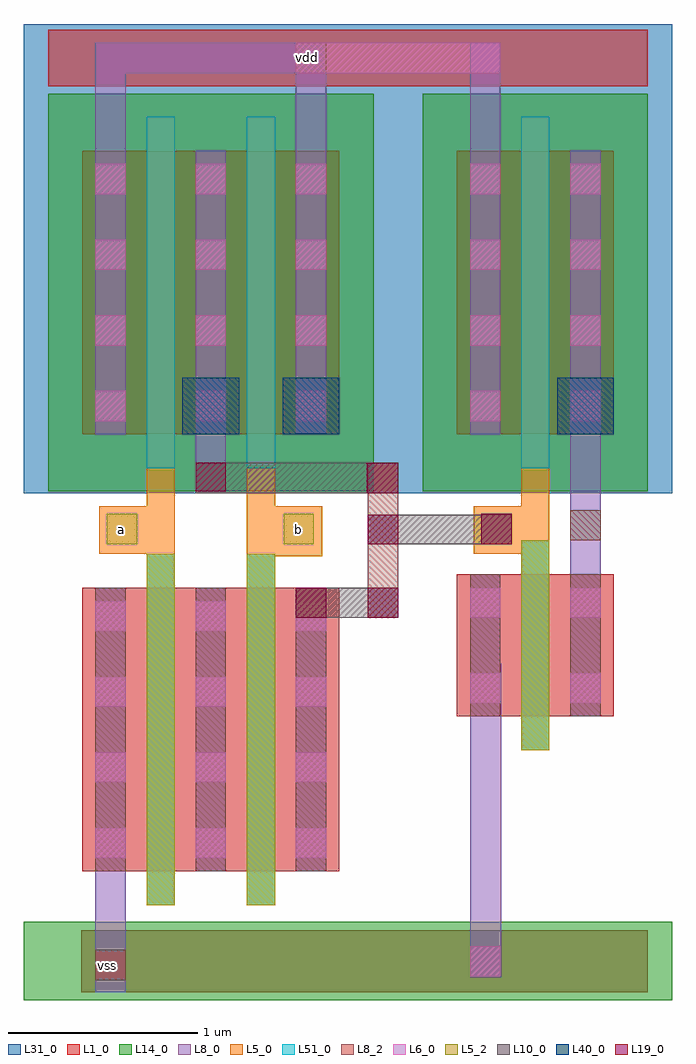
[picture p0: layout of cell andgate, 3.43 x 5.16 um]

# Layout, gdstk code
import gdstk
lib = gdstk.Library(unit=1e-6, precision=5e-09)
def R(c, l, rs):  # rectangles x0, y0, x1, y1
    for r in rs: c.add(gdstk.rectangle(r[:2], r[2:], *l))
def A(c, l, x, y, w, h, nx, ny, dx, dy):  # array of equal rectangles
    R(c, l, [(x+i*dx, y+j*dy, x+i*dx+w, y+j*dy+h) for i in range(nx) for j in range(ny)])
L1_0 = (1, 0)
L5_0 = (5, 0)
L5_2 = (5, 2)
L6_0 = (6, 0)
L8_0 = (8, 0)
L8_2 = (8, 2)
L10_0 = (10, 0)
L14_0 = (14, 0)
L19_0 = (19, 0)
L31_0 = (31, 0)
L40_0 = (40, 0)
L51_0 = (51, 0)

nmos_1 = lib.new_cell('nmos$1')
R(nmos_1, L1_0, [(0,0,0.3,0.3), (0,0,0.83,1.5), (0.53,0,0.83,0.3)])
R(nmos_1, L5_0, [(0.34,-0.18,0.49,1.68)])
R(nmos_1, L5_2, [(0.34,-0.18,0.49,1.68)])
A(nmos_1, L6_0, 0.07, 0.07, 0.16, 0.16, 1, 4, 0, 0.4)
A(nmos_1, L6_0, 0.6, 0.07, 0.16, 0.16, 1, 4, 0, 0.4)
R(nmos_1, L8_0, [(0.07,0,0.23,1.5), (0.6,0,0.76,1.5)])
R(nmos_1, L8_2, [(0.07,0,0.23,1.5), (0.6,0,0.76,1.5)])
R(nmos_1, L51_0, [(0.34,-0.18,0.49,1.68)])
nmos_1.add(gdstk.Label('nmos', (0.415,0.75), layer=63, texttype=0))
nmos_1.add(gdstk.Label('nmos', (0.415,0.75), layer=51, texttype=0))

pmos = lib.new_cell('pmos')
R(pmos, L1_0, [(0,0,0.3,0.3), (0,0,0.83,1.5), (0.53,0,0.83,0.3)])
R(pmos, L5_0, [(0.34,-0.18,0.49,1.68), (0.34,-0.18,0.49,1.68)])
A(pmos, L6_0, 0.07, 0.07, 0.16, 0.16, 1, 4, 0, 0.4)
A(pmos, L6_0, 0.6, 0.07, 0.16, 0.16, 1, 4, 0, 0.4)
R(pmos, L8_0, [(0.07,0,0.23,1.5), (0.07,0,0.23,1.5), (0.6,0,0.76,1.5), (0.6,0,0.76,1.5)])
R(pmos, L14_0, [(-0.18,-0.3,1.01,1.8)])
R(pmos, L31_0, [(-0.31,-0.31,1.14,1.81)])
R(pmos, L40_0, [(0.53,0,0.83,0.3)])
R(pmos, L51_0, [(0.34,-0.18,0.49,1.68)])
pmos.add(gdstk.Label('pmos', (0.415,0.75), layer=63, texttype=0))
pmos.add(gdstk.Label('pmos', (0.415,0.75), layer=51, texttype=0))

nmos = lib.new_cell('nmos')
R(nmos, L1_0, [(0,0,0.3,0.3), (0,0,0.83,0.75), (0.53,0,0.83,0.3)])
R(nmos, L5_0, [(0.34,-0.18,0.49,0.93)])
R(nmos, L5_2, [(0.34,-0.18,0.49,0.93)])
R(nmos, L6_0, [(0.07,0.07,0.23,0.23), (0.6,0.07,0.76,0.23), (0.07,0.52,0.23,0.68), (0.6,0.52,0.76,0.68)])
R(nmos, L8_0, [(0.07,0,0.23,0.75), (0.6,0,0.76,0.75)])
R(nmos, L8_2, [(0.07,0,0.23,0.75), (0.6,0,0.76,0.75)])
R(nmos, L51_0, [(0.34,-0.18,0.49,0.93)])
nmos.add(gdstk.Label('nmos', (0.415,0.375), layer=63, texttype=0))
nmos.add(gdstk.Label('nmos', (0.415,0.375), layer=51, texttype=0))

pmos_1 = lib.new_cell('pmos$1')
R(pmos_1, L1_0, [(0,0,0.3,0.3), (0,0,0.83,1.5), (0.53,0,0.83,0.3)])
R(pmos_1, L5_0, [(0.34,-0.18,0.49,1.68), (0.34,-0.18,0.49,1.68)])
A(pmos_1, L6_0, 0.07, 0.07, 0.16, 0.16, 1, 4, 0, 0.4)
A(pmos_1, L6_0, 0.6, 0.07, 0.16, 0.16, 1, 4, 0, 0.4)
R(pmos_1, L8_0, [(0.07,0,0.23,1.5), (0.07,0,0.23,1.5), (0.6,0,0.76,1.5), (0.6,0,0.76,1.5)])
R(pmos_1, L14_0, [(-0.18,-0.3,1.01,1.8)])
R(pmos_1, L31_0, [(-0.31,-0.31,1.14,1.81)])
R(pmos_1, L40_0, [(0.53,0,0.83,0.3)])
R(pmos_1, L51_0, [(0.34,-0.18,0.49,1.68)])
pmos_1.add(gdstk.Label('pmos', (0.415,0.75), layer=63, texttype=0))
pmos_1.add(gdstk.Label('pmos', (0.415,0.75), layer=51, texttype=0))

inverter = lib.new_cell('inverter')
R(inverter, L1_0, [(-0.845,-2.585,0.395,-2.255), (-0.795,2.205,0.395,2.505)])
R(inverter, L5_0, [(-0.525,-0.265,-0.275,-0.015), (-0.275,-0.195,-0.125,0.185)])
R(inverter, L5_2, [(-0.485,-0.215,-0.325,-0.055)])
R(inverter, L6_0, [(-0.545,-2.5,-0.385,-2.34), (-0.545,-2.5,-0.385,-2.34), (-0.545,2.275,-0.385,2.435)])
R(inverter, L8_0, [(-0.545,-2.505,-0.38,-0.845), (-0.015,-0.375,0.145,0.365), (-0.545,1.865,-0.385,2.435)])
R(inverter, L8_2, [(-0.015,-0.195,0.145,-0.035)])
R(inverter, L14_0, [(-0.925,-2.625,0.525,-2.21)])
R(inverter, L31_0, [(-0.925,2.175,0.525,2.535)])
inverter.add(gdstk.Reference(nmos, (-0.615,-1.125)))
inverter.add(gdstk.Reference(pmos_1, (-0.615,0.365)))
inverter.add(gdstk.Label('vss', (-0.475,-2.43), layer=8, texttype=2))
inverter.add(gdstk.Label('vdd', (-0.465,2.355), layer=8, texttype=2))
inverter.add(gdstk.Label('out', (0.06,-0.09), layer=8, texttype=2))
inverter.add(gdstk.Label('in', (-0.45,-0.11), layer=5, texttype=2))

andgate = lib.new_cell('andgate')
R(andgate, L1_0, [(-0.62,-2.585,1.135,-2.255), (-0.795,2.205,1.185,2.505)])
R(andgate, L5_0, [(-0.275,-0.445,-0.125,0.185), (0.255,-0.28,0.655,-0.015), (-0.525,-0.265,-0.125,-0.015), (0.255,-0.265,0.405,0.185)])
R(andgate, L5_2, [(-0.485,-0.215,-0.325,-0.055), (0.45,-0.215,0.61,-0.055)])
R(andgate, L6_0, [(1.495,-0.215,1.655,-0.055), (0.515,2.275,0.675,2.435), (0.675,2.275,1.595,2.435)])
R(andgate, L8_0, [(-0.545,-2.585,-0.385,-0.445), (-0.015,0.055,0.145,0.365), (-0.545,0.365,-0.385,2.435), (-0.545,1.865,-0.385,2.435), (0.515,1.865,0.675,2.435), (-0.545,2.275,0.675,2.435)])
R(andgate, L8_2, [(-0.545,-2.52,-0.385,-2.36), (0.895,-0.605,1.055,0.215), (0.515,2.275,0.675,2.435)])
R(andgate, L10_0, [(0.515,-0.605,1.055,-0.445), (0.895,-0.215,1.655,-0.06), (-0.015,0.055,1.055,0.215)])
R(andgate, L14_0, [(-0.925,-2.625,1.055,-2.21)])
R(andgate, L19_0, [(0.515,-0.605,0.675,-0.445), (0.895,-0.605,1.055,-0.445), (0.895,-0.215,1.055,-0.06), (1.495,-0.215,1.655,-0.055), (0.89,0.055,1.055,0.215), (-0.015,0.065,0.145,0.215)])
R(andgate, L31_0, [(-0.925,2.175,1.055,2.535)])
andgate.add(gdstk.Reference(nmos_1, (-0.615,-1.945)))
andgate.add(gdstk.Reference(pmos, (-0.615,0.365)))
andgate.add(gdstk.Reference(pmos, (-0.085,0.365)))
andgate.add(gdstk.Reference(nmos_1, (-0.085,-1.945)))
andgate.add(gdstk.Reference(inverter, (1.98,0)))
andgate.add(gdstk.Label('vdd', (0.575,2.36), layer=8, texttype=2))
andgate.add(gdstk.Label('vss', (-0.48,-2.445), layer=8, texttype=2))
andgate.add(gdstk.Label('b', (0.53,-0.135), layer=5, texttype=2))
andgate.add(gdstk.Label('a', (-0.405,-0.135), layer=5, texttype=2))

lib.write_gds('andgate.gds')
